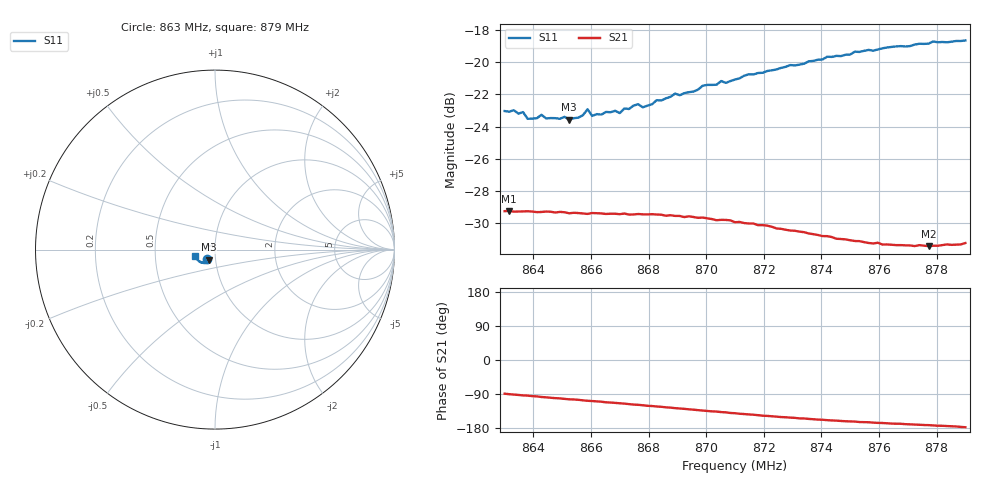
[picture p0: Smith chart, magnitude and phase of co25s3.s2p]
# HZ S RI R 50
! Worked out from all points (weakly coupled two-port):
!   101 points, 863 MHz to 879 MHz, reference 50 ohm
!   highest |S21| = -29.23 dB at 863.16 MHz (marker M1); lowest = -31.4 dB at 877.72 MHz (marker M2)
!   lowest |S11| = -23.6 dB at 865.24 MHz (marker M3), VSWR 1.14, Z = 46.3 - j5.19 ohm
!   |S11| at or under -10 dB: start of sweep to end of sweep
!   S12 and S22 are empty: the file has one direction only
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8.63e8  -0.0443 -0.0549  0.00064 -0.0345  0 0  0 0
8.6316e8  -0.0433 -0.0553  -0.000124 -0.0346  0 0  0 0
8.6364e8  -0.0428 -0.0554  -0.00206 -0.0344  0 0  0 0
8.638e8  -0.0408 -0.0528  -0.00242 -0.0344  0 0  0 0
8.6428e8  -0.0392 -0.0564  -0.00457 -0.034  0 0  0 0
8.6444e8  -0.0391 -0.0543  -0.00507 -0.0341  0 0  0 0
8.6524e8  -0.0358 -0.0559  -0.00806 -0.033  0 0  0 0
8.6572e8  -0.0354 -0.0586  -0.00965 -0.0326  0 0  0 0
8.6588e8  -0.0422 -0.0577  -0.0102 -0.0323  0 0  0 0
8.6604e8  -0.0344 -0.0588  -0.0107 -0.0323  0 0  0 0
8.6684e8  -0.0348 -0.0615  -0.0134 -0.0311  0 0  0 0
8.67e8  -0.0338 -0.0607  -0.0138 -0.0308  0 0  0 0
8.6748e8  -0.0358 -0.064  -0.0157 -0.0299  0 0  0 0
8.678e8  -0.0342 -0.0638  -0.0166 -0.0294  0 0  0 0
8.6844e8  -0.0366 -0.0667  -0.0186 -0.0281  0 0  0 0
8.6956e8  -0.0416 -0.0695  -0.0218 -0.025  0 0  0 0
8.6988e8  -0.043 -0.0728  -0.0227 -0.024  0 0  0 0
8.71e8  -0.0491 -0.0734  -0.0246 -0.0203  0 0  0 0
8.7372e8  -0.0684 -0.0741  -0.0268 -0.0118  0 0  0 0
8.7644e8  -0.0931 -0.0612  -0.0266 -0.00576  0 0  0 0
8.7772e8  -0.102 -0.051  -0.0266 -0.00381  0 0  0 0
8.79e8  -0.1103 -0.038  -0.0275 -0.00125  0 0  0 0
